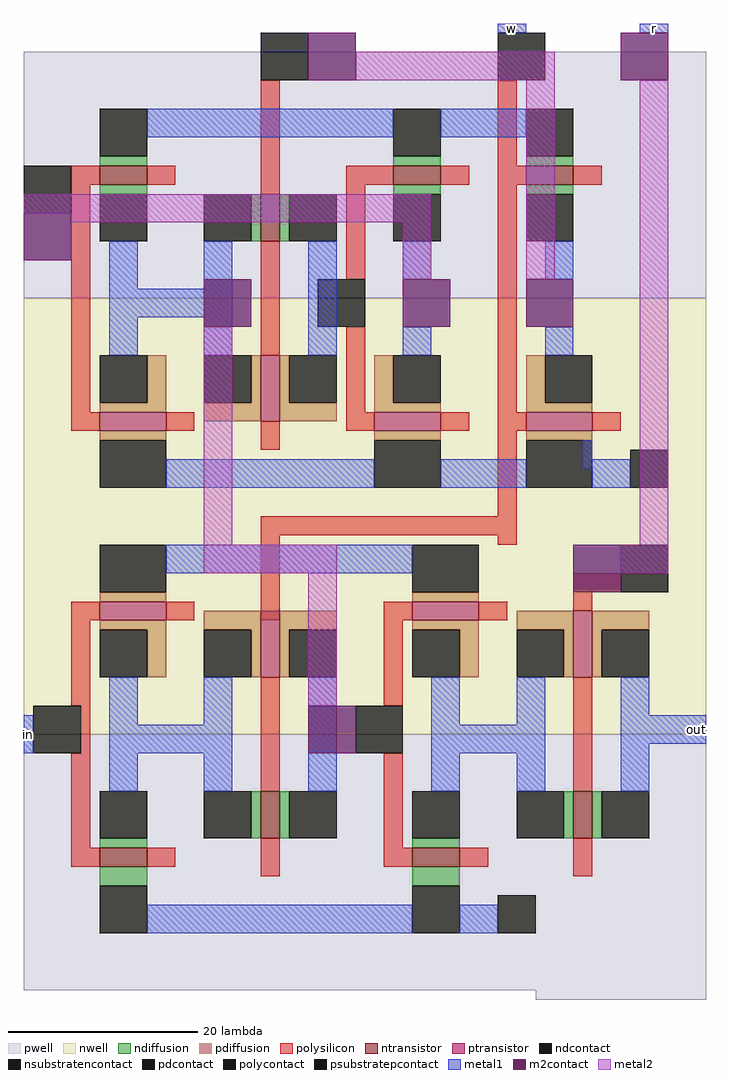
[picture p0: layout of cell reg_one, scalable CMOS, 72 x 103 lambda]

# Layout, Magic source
magic
tech scmos
<< nwell >>
rect 0 -20 72 26
<< pwell >>
rect 52 26 72 52
rect 0 -47 72 -20
rect 54 -48 72 -47
<< ntransistor >>
rect 8 -34 13 -32
rect 41 -34 46 -32
<< ptransistor >>
rect 8 -8 15 -6
rect 41 -8 48 -6
<< ndiffusion >>
rect 8 -32 13 -31
rect 41 -32 46 -31
rect 8 -36 13 -34
rect 41 -36 46 -34
<< pdiffusion >>
rect 8 -6 15 -5
rect 41 -6 48 -5
rect 8 -9 15 -8
rect 13 -14 15 -9
rect 41 -9 48 -8
rect 46 -14 48 -9
<< ndcontact >>
rect 8 -31 13 -26
rect 41 -31 46 -26
rect 8 -41 13 -36
rect 41 -41 46 -36
<< pdcontact >>
rect 8 -5 15 0
rect 41 -5 48 0
rect 8 -14 13 -9
rect 41 -14 46 -9
<< psubstratepcontact >>
rect 50 -41 54 -37
<< nsubstratencontact >>
rect 64 6 68 10
<< polysilicon >>
rect 50 39 52 49
rect 25 1 52 3
rect 5 -8 8 -6
rect 15 -8 18 -6
rect 25 -8 27 1
rect 58 -5 63 -3
rect 38 -8 41 -6
rect 48 -8 51 -6
rect 5 -17 7 -8
rect 38 -17 40 -8
rect 6 -22 7 -17
rect 5 -32 7 -22
rect 38 -32 40 -22
rect 5 -34 8 -32
rect 13 -34 16 -32
rect 38 -34 41 -32
rect 46 -34 49 -32
<< polycontact >>
rect 50 49 55 54
rect 63 -5 68 0
rect 1 -22 6 -17
rect 35 -22 40 -17
<< metal1 >>
rect 50 54 53 55
rect 65 54 68 55
rect 59 9 60 11
rect 59 8 64 9
rect 60 6 64 8
rect 15 -3 41 0
rect 0 -22 1 -18
rect 9 -19 12 -14
rect 9 -22 19 -19
rect 43 -19 46 -14
rect 43 -22 55 -19
rect 64 -21 72 -18
rect 9 -26 12 -22
rect 43 -26 46 -22
rect 13 -41 41 -38
rect 46 -41 50 -38
<< m2contact >>
rect 63 49 68 54
rect 58 -5 63 0
rect 30 -22 35 -17
<< metal2 >>
rect 19 0 22 6
rect 65 0 68 49
rect 19 -3 33 0
rect 30 -17 33 -3
rect 63 -3 68 0
use staticizer  staticizer_0
transform 1 0 13 0 -1 43
box -13 -11 50 43
use trans  trans_0
transform 1 0 22 0 1 -15
box -9 -22 17 14
use trans  trans_1
transform 1 0 55 0 1 -15
box -9 -22 17 14
<< labels >>
rlabel metal1 70 -21 72 -18 3 out
rlabel metal1 0 -22 1 -18 7 in
rlabel metal1 50 54 53 55 1 w
rlabel metal1 65 54 68 55 1 r
<< end >>

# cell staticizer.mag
magic
tech scmos
<< nwell >>
rect -13 17 39 43
<< pwell >>
rect -13 -9 39 17
<< ntransistor >>
rect -5 3 0 5
rect 26 3 31 5
rect 40 3 45 5
<< ptransistor >>
rect -5 29 2 31
rect 24 29 31 31
rect 40 29 47 31
<< ndiffusion >>
rect -5 5 0 6
rect 26 5 31 6
rect 40 5 45 6
rect -5 2 0 3
rect 26 2 31 3
rect 40 2 45 3
<< pdiffusion >>
rect -5 31 2 32
rect 24 31 31 32
rect 40 31 47 32
rect -5 28 2 29
rect 0 23 2 28
rect 24 28 31 29
rect 24 23 26 28
rect 40 28 47 29
rect 40 23 42 28
<< ndcontact >>
rect -5 6 0 11
rect 26 6 31 11
rect 40 6 45 11
rect -5 -3 0 2
rect 26 -3 31 2
rect 40 -3 45 2
<< pdcontact >>
rect -5 32 2 37
rect 24 32 31 37
rect 40 32 47 37
rect -5 23 0 28
rect 26 23 31 28
rect 42 23 47 28
<< polysilicon >>
rect 37 31 39 43
rect -8 29 -5 31
rect 2 29 5 31
rect 21 29 24 31
rect 31 29 34 31
rect 37 29 40 31
rect 47 29 50 31
rect -8 5 -6 29
rect 21 20 23 29
rect 21 5 23 15
rect 37 5 39 29
rect -8 3 -5 5
rect 0 3 3 5
rect 12 -6 14 4
rect 21 3 26 5
rect 31 3 34 5
rect 37 3 40 5
rect 45 3 48 5
<< polycontact >>
rect -13 3 -8 8
rect 18 15 23 20
rect 12 -11 17 -6
<< metal1 >>
rect 2 34 24 37
rect 31 34 40 37
rect -4 19 -1 23
rect 27 20 30 23
rect 42 20 45 23
rect -4 16 6 19
rect -4 11 -1 16
rect 27 11 30 15
rect 42 11 45 15
rect 0 -3 26 0
rect 31 -3 40 0
<< m2contact >>
rect -13 8 -8 13
rect 6 15 11 20
rect 27 15 32 20
rect 40 15 45 20
rect 17 -11 22 -6
<< metal2 >>
rect 6 20 9 43
rect 27 9 30 15
rect -8 8 30 9
rect -13 6 30 8
rect 40 -6 43 15
rect 22 -9 43 -6
use trans  trans_0
transform 1 0 9 0 1 22
box -9 -22 17 14
<< labels >>
rlabel metal2 6 41 9 43 1 x
rlabel polysilicon 37 41 39 43 1 w
<< end >>

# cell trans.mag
magic
tech scmos
<< nwell >>
rect -9 -5 17 14
<< pwell >>
rect -9 -22 17 -5
<< ntransistor >>
rect 3 -16 5 -11
<< ptransistor >>
rect 3 1 5 8
<< ndiffusion >>
rect 2 -16 3 -11
rect 5 -16 6 -11
<< pdiffusion >>
rect -3 6 3 8
rect 2 1 3 6
rect 5 6 11 8
rect 5 1 6 6
<< ndcontact >>
rect -3 -16 2 -11
rect 6 -16 11 -11
<< pdcontact >>
rect -3 1 2 6
rect 6 1 11 6
<< polysilicon >>
rect 3 8 5 11
rect 3 -11 5 1
rect 3 -20 5 -16
<< metal1 >>
rect -3 -11 0 1
rect 8 -11 11 1
<< end >>
